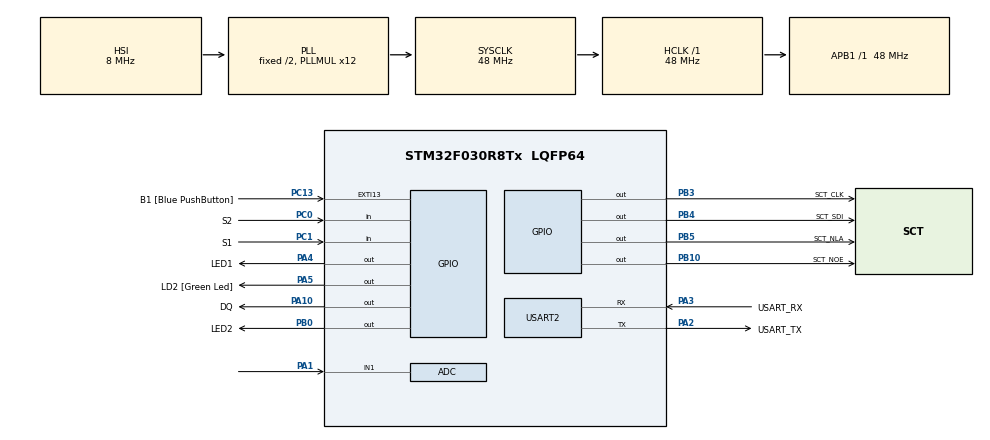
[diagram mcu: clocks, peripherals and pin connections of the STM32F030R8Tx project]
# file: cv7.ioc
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ADC.ContinuousConvMode=ENABLE
ADC.DiscontinuousConvMode=DISABLE
ADC.Overrun=ADC_OVR_DATA_OVERWRITTEN
ADC.Resolution=ADC_RESOLUTION_10B
ADC.SamplingTime=ADC_SAMPLETIME_239CYCLES_5
Mcu.Family=STM32F0
Mcu.Name=STM32F030R8Tx
Mcu.Package=LQFP64
PA1.Mode=IN1
PA1.Signal=ADC_IN1
PA10.GPIO_Label=DQ
PA10.GPIO_ModeDefaultOutputPP=GPIO_MODE_OUTPUT_OD
PA10.Signal=GPIO_Output
PA13.GPIO_Label=TMS
PA13.Mode=Serial_Wire
PA13.Signal=SYS_SWDIO
PA14.GPIO_Label=TCK
PA14.Mode=Serial_Wire
PA14.Signal=SYS_SWCLK
PA2.GPIO_Label=USART_TX
PA2.GPIO_Mode=GPIO_MODE_AF_PP
PA2.GPIO_PuPd=GPIO_NOPULL
PA2.GPIO_Speed=GPIO_SPEED_FREQ_LOW
PA2.Mode=Asynchronous
PA2.Signal=USART2_TX
PA3.GPIO_Label=USART_RX
PA3.GPIO_Mode=GPIO_MODE_AF_PP
PA3.GPIO_PuPd=GPIO_NOPULL
PA3.GPIO_Speed=GPIO_SPEED_FREQ_LOW
PA3.Mode=Asynchronous
PA3.Signal=USART2_RX
PA4.GPIO_Label=LED1
PA4.Signal=GPIO_Output
PA5.GPIO_Label=LD2 [Green Led]
PA5.GPIO_Mode=GPIO_MODE_OUTPUT_PP
PA5.GPIO_PuPd=GPIO_NOPULL
PA5.GPIO_Speed=GPIO_SPEED_FREQ_LOW
PA5.Signal=GPIO_Output
PB0.GPIO_Label=LED2
PB0.Signal=GPIO_Output
PB10.GPIO_Label=SCT_NOE
PB10.Signal=GPIO_Output
PB3.GPIO_Label=SCT_CLK
PB3.Signal=GPIO_Output
PB4.GPIO_Label=SCT_SDI
PB4.Signal=GPIO_Output
PB5.GPIO_Label=SCT_NLA
PB5.Signal=GPIO_Output
PC0.GPIO_Label=S2
PC0.GPIO_PuPd=GPIO_PULLUP
PC0.Signal=GPIO_Input
PC1.GPIO_Label=S1
PC1.GPIO_PuPd=GPIO_PULLUP
PC1.Signal=GPIO_Input
PC13.GPIO_Label=B1 [Blue PushButton]
PC13.GPIO_ModeDefaultEXTI=GPIO_MODE_IT_FALLING
PC13.Signal=GPXTI13
PC14-OSC32_IN.Mode=LSE-External-Oscillator
PC14-OSC32_IN.Signal=RCC_OSC32_IN
PC15-OSC32_OUT.Mode=LSE-External-Oscillator
PC15-OSC32_OUT.Signal=RCC_OSC32_OUT
PF0-OSC_IN.Mode=HSE-External-Clock-Source
PF0-OSC_IN.Signal=RCC_OSC_IN
PF1-OSC_OUT.Signal=RCC_OSC_OUT
ProjectManager.HeapSize=0x200
ProjectManager.StackSize=0x400
ProjectManager.TargetToolchain=STM32CubeIDE
RCC.AHBFreq_Value=48000000
RCC.APB1Freq_Value=48000000
RCC.APB1TimFreq_Value=48000000
RCC.HCLKFreq_Value=48000000
RCC.PLLMUL=RCC_PLL_MUL12
RCC.SYSCLKFreq_VALUE=48000000
RCC.SYSCLKSource=RCC_SYSCLKSOURCE_PLLCLK
USART2.VirtualMode-Asynchronous=VM_ASYNC
board=NUCLEO-F030R8

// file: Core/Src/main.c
/* USER CODE BEGIN Header */
/**
  ******************************************************************************
  * @file           : main.c
  * @brief          : Main program body
  ******************************************************************************
  * @attention
  *
  * <h2><center>&copy; Copyright (c) 2021 STMicroelectronics.
  * All rights reserved.</center></h2>
  *
  * This software component is licensed by ST under BSD 3-Clause license,
  * the "License"; You may not use this file except in compliance with the
  * License. You may obtain a copy of the License at:
  *                        opensource.org/licenses/BSD-3-Clause
  *
  ******************************************************************************
  */
/* USER CODE END Header */
#include "main.h"

/* USER CODE BEGIN Includes */
#include "1wire.h"
#include "sct.h"
#include "lookup.h"
#include <stdbool.h>
/* USER CODE END Includes */

ADC_HandleTypeDef hadc;

UART_HandleTypeDef huart2;

void SystemClock_Config(void);
static void MX_GPIO_Init(void);
static void MX_USART2_UART_Init(void);
static void MX_ADC_Init(void);

/* USER CODE BEGIN 0 */

bool buttons(void){
	static bool stateButton;
	static uint32_t old_s2;
	static uint32_t old_s1;
	static uint32_t delay;
	uint32_t new_s2 = HAL_GPIO_ReadPin(S2_GPIO_Port,S2_Pin);
	uint32_t new_s1 = HAL_GPIO_ReadPin(S1_GPIO_Port,S1_Pin);

	if (HAL_GetTick() > delay + 40){
		if (old_s2 && !new_s2) { // falling edge
			stateButton = true;
		}
		if (old_s1 && !new_s1){
			stateButton = false;
		}
		old_s2 = new_s2;
		old_s1 = new_s1;

		delay = HAL_GetTick();
	}
	return stateButton;
}

/* USER CODE END 0 */

int main(void)
{

  /* MCU Configuration--------------------------------------------------------*/

  /* Reset of all peripherals, Initializes the Flash interface and the Systick. */
  HAL_Init();

  /* Configure the system clock */
  SystemClock_Config();

  /* Initialize all configured peripherals */
  MX_GPIO_Init();
  MX_USART2_UART_Init();
  MX_ADC_Init();
  /* USER CODE BEGIN 2 */
  OWInit();
  sct_init();
  HAL_ADCEx_Calibration_Start(&hadc);
  HAL_ADC_Start(&hadc);
  /* USER CODE END 2 */

  /* Infinite loop */
  while (1)
  {

    /* USER CODE BEGIN 3 */

	static int16_t temp_18b20;
	static uint32_t convertDelay;
	bool button = buttons();

	if (button){
		int16_t tempNTC = lookup[HAL_ADC_GetValue(&hadc)];
		sct_value(tempNTC, 0);
		HAL_GPIO_WritePin(LED1_GPIO_Port, LED1_Pin, 1);
		HAL_GPIO_WritePin(LED2_GPIO_Port, LED2_Pin, 0);
	}else
	{
		HAL_GPIO_WritePin(LED1_GPIO_Port, LED1_Pin, 0);
		HAL_GPIO_WritePin(LED2_GPIO_Port, LED2_Pin, 1);
		if (HAL_GetTick() > convertDelay + CONVERT_T_DELAY){
			OWReadTemperature(&temp_18b20);
			temp_18b20 = temp_18b20 / 10;
			sct_value(temp_18b20, 0);
			OWConvertAll();
			convertDelay = HAL_GetTick();
		}
	}

  }
  /* USER CODE END 3 */
}

void SystemClock_Config(void)
{
  RCC_OscInitTypeDef RCC_OscInitStruct = {0};
  RCC_ClkInitTypeDef RCC_ClkInitStruct = {0};

  /** Initializes the RCC Oscillators according to the specified parameters
  * in the RCC_OscInitTypeDef structure.
  */
  RCC_OscInitStruct.OscillatorType = RCC_OSCILLATORTYPE_HSI|RCC_OSCILLATORTYPE_HSI14;
  RCC_OscInitStruct.HSIState = RCC_HSI_ON;
  RCC_OscInitStruct.HSI14State = RCC_HSI14_ON;
  RCC_OscInitStruct.HSICalibrationValue = RCC_HSICALIBRATION_DEFAULT;
  RCC_OscInitStruct.HSI14CalibrationValue = 16;
  RCC_OscInitStruct.PLL.PLLState = RCC_PLL_ON;
  RCC_OscInitStruct.PLL.PLLSource = RCC_PLLSOURCE_HSI;
  RCC_OscInitStruct.PLL.PLLMUL = RCC_PLL_MUL12;
  RCC_OscInitStruct.PLL.PREDIV = RCC_PREDIV_DIV1;
  if (HAL_RCC_OscConfig(&RCC_OscInitStruct) != HAL_OK)
  {
    Error_Handler();
  }
  /** Initializes the CPU, AHB and APB buses clocks
  */
  RCC_ClkInitStruct.ClockType = RCC_CLOCKTYPE_HCLK|RCC_CLOCKTYPE_SYSCLK
                              |RCC_CLOCKTYPE_PCLK1;
  RCC_ClkInitStruct.SYSCLKSource = RCC_SYSCLKSOURCE_PLLCLK;
  RCC_ClkInitStruct.AHBCLKDivider = RCC_SYSCLK_DIV1;
  RCC_ClkInitStruct.APB1CLKDivider = RCC_HCLK_DIV1;

  if (HAL_RCC_ClockConfig(&RCC_ClkInitStruct, FLASH_LATENCY_1) != HAL_OK)
  {
    Error_Handler();
  }
}

static void MX_ADC_Init(void)
{

  ADC_ChannelConfTypeDef sConfig = {0};

  /** Configure the global features of the ADC (Clock, Resolution, Data Alignment and number of conversion)
  */
  hadc.Instance = ADC1;
  hadc.Init.ClockPrescaler = ADC_CLOCK_ASYNC_DIV1;
  hadc.Init.Resolution = ADC_RESOLUTION_10B;
  hadc.Init.DataAlign = ADC_DATAALIGN_RIGHT;
  hadc.Init.ScanConvMode = ADC_SCAN_DIRECTION_FORWARD;
  hadc.Init.EOCSelection = ADC_EOC_SINGLE_CONV;
  hadc.Init.LowPowerAutoWait = DISABLE;
  hadc.Init.LowPowerAutoPowerOff = DISABLE;
  hadc.Init.ContinuousConvMode = ENABLE;
  hadc.Init.DiscontinuousConvMode = DISABLE;
  hadc.Init.ExternalTrigConv = ADC_SOFTWARE_START;
  hadc.Init.ExternalTrigConvEdge = ADC_EXTERNALTRIGCONVEDGE_NONE;
  hadc.Init.DMAContinuousRequests = DISABLE;
  hadc.Init.Overrun = ADC_OVR_DATA_OVERWRITTEN;
  if (HAL_ADC_Init(&hadc) != HAL_OK)
  {
    Error_Handler();
  }
  /** Configure for the selected ADC regular channel to be converted.
  */
  sConfig.Channel = ADC_CHANNEL_1;
  sConfig.Rank = ADC_RANK_CHANNEL_NUMBER;
  sConfig.SamplingTime = ADC_SAMPLETIME_239CYCLES_5;
  if (HAL_ADC_ConfigChannel(&hadc, &sConfig) != HAL_OK)
  {
    Error_Handler();
  }

}

static void MX_USART2_UART_Init(void)
{

  huart2.Instance = USART2;
  huart2.Init.BaudRate = 38400;
  huart2.Init.WordLength = UART_WORDLENGTH_8B;
  huart2.Init.StopBits = UART_STOPBITS_1;
  huart2.Init.Parity = UART_PARITY_NONE;
  huart2.Init.Mode = UART_MODE_TX_RX;
  huart2.Init.HwFlowCtl = UART_HWCONTROL_NONE;
  huart2.Init.OverSampling = UART_OVERSAMPLING_16;
  huart2.Init.OneBitSampling = UART_ONE_BIT_SAMPLE_DISABLE;
  huart2.AdvancedInit.AdvFeatureInit = UART_ADVFEATURE_NO_INIT;
  if (HAL_UART_Init(&huart2) != HAL_OK)
  {
    Error_Handler();
  }

}

static void MX_GPIO_Init(void)
{
  GPIO_InitTypeDef GPIO_InitStruct = {0};

  /* GPIO Ports Clock Enable */
  __HAL_RCC_GPIOC_CLK_ENABLE();
  __HAL_RCC_GPIOF_CLK_ENABLE();
  __HAL_RCC_GPIOA_CLK_ENABLE();
  __HAL_RCC_GPIOB_CLK_ENABLE();

  /*Configure GPIO pin Output Level */
  HAL_GPIO_WritePin(GPIOA, LED1_Pin|LD2_Pin|DQ_Pin, GPIO_PIN_RESET);

  /*Configure GPIO pin Output Level */
  HAL_GPIO_WritePin(GPIOB, LED2_Pin|SCT_NOE_Pin|SCT_CLK_Pin|SCT_SDI_Pin
                          |SCT_NLA_Pin, GPIO_PIN_RESET);

  /*Configure GPIO pin : B1_Pin */
  GPIO_InitStruct.Pin = B1_Pin;
  GPIO_InitStruct.Mode = GPIO_MODE_IT_FALLING;
  GPIO_InitStruct.Pull = GPIO_NOPULL;
  HAL_GPIO_Init(B1_GPIO_Port, &GPIO_InitStruct);

  /*Configure GPIO pins : S2_Pin S1_Pin */
  GPIO_InitStruct.Pin = S2_Pin|S1_Pin;
  GPIO_InitStruct.Mode = GPIO_MODE_INPUT;
  GPIO_InitStruct.Pull = GPIO_PULLUP;
  HAL_GPIO_Init(GPIOC, &GPIO_InitStruct);

  /*Configure GPIO pins : LED1_Pin LD2_Pin */
  GPIO_InitStruct.Pin = LED1_Pin|LD2_Pin;
  GPIO_InitStruct.Mode = GPIO_MODE_OUTPUT_PP;
  GPIO_InitStruct.Pull = GPIO_NOPULL;
  GPIO_InitStruct.Speed = GPIO_SPEED_FREQ_LOW;
  HAL_GPIO_Init(GPIOA, &GPIO_InitStruct);

  /*Configure GPIO pins : LED2_Pin SCT_NOE_Pin SCT_CLK_Pin SCT_SDI_Pin
                           SCT_NLA_Pin */
  GPIO_InitStruct.Pin = LED2_Pin|SCT_NOE_Pin|SCT_CLK_Pin|SCT_SDI_Pin
                          |SCT_NLA_Pin;
  GPIO_InitStruct.Mode = GPIO_MODE_OUTPUT_PP;
  GPIO_InitStruct.Pull = GPIO_NOPULL;
  GPIO_InitStruct.Speed = GPIO_SPEED_FREQ_LOW;
  HAL_GPIO_Init(GPIOB, &GPIO_InitStruct);

  /*Configure GPIO pin : DQ_Pin */
  GPIO_InitStruct.Pin = DQ_Pin;
  GPIO_InitStruct.Mode = GPIO_MODE_OUTPUT_OD;
  GPIO_InitStruct.Pull = GPIO_NOPULL;
  GPIO_InitStruct.Speed = GPIO_SPEED_FREQ_LOW;
  HAL_GPIO_Init(DQ_GPIO_Port, &GPIO_InitStruct);

}

void Error_Handler(void)
{
  __disable_irq();
  while (1)
  {
  }
}

/************************ (C) COPYRIGHT STMicroelectronics *****END OF FILE****/
